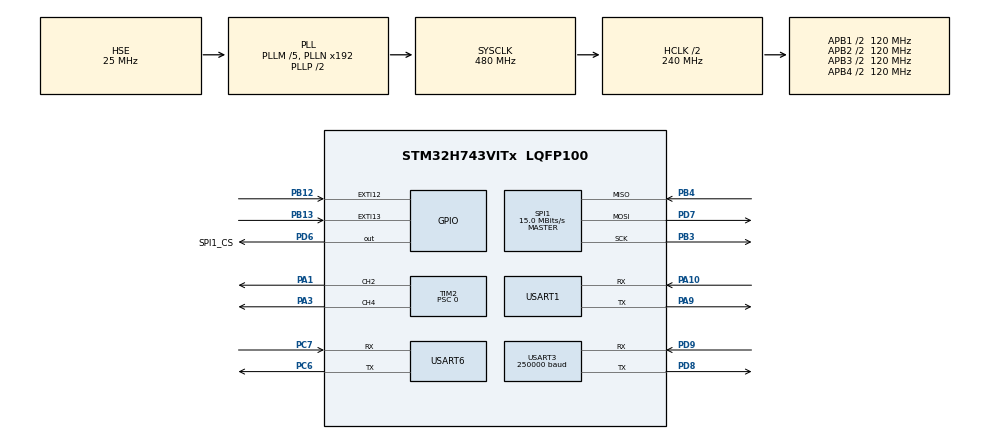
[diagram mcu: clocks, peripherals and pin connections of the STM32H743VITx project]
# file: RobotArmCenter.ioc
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Bdma.MEMTOMEM.0.Direction=DMA_MEMORY_TO_MEMORY
Bdma.MEMTOMEM.0.EventEnable=DISABLE
Bdma.MEMTOMEM.0.Instance=BDMA_Channel0
Bdma.MEMTOMEM.0.MemDataAlignment=DMA_MDATAALIGN_BYTE
Bdma.MEMTOMEM.0.MemInc=DMA_MINC_ENABLE
Bdma.MEMTOMEM.0.Mode=DMA_NORMAL
Bdma.MEMTOMEM.0.PeriphDataAlignment=DMA_PDATAALIGN_BYTE
Bdma.MEMTOMEM.0.PeriphInc=DMA_PINC_ENABLE
Bdma.MEMTOMEM.0.Polarity=HAL_DMAMUX_REQ_GEN_RISING
Bdma.MEMTOMEM.0.Priority=DMA_PRIORITY_LOW
Bdma.MEMTOMEM.0.RequestNumber=1
Bdma.MEMTOMEM.0.SignalID=NONE
Bdma.MEMTOMEM.0.SyncEnable=DISABLE
Bdma.MEMTOMEM.0.SyncPolarity=HAL_DMAMUX_SYNC_NO_EVENT
Bdma.MEMTOMEM.0.SyncRequestNumber=1
Bdma.MEMTOMEM.0.SyncSignalID=NONE
Bdma.Request0=MEMTOMEM
Bdma.RequestsNb=1
CORTEX_M7.default_mode_Activation=1
Dma.Request0=USART1_RX
Dma.Request1=USART1_TX
Dma.Request2=USART3_RX
Dma.Request3=USART3_TX
Dma.Request4=SPI1_RX
Dma.Request5=SPI1_TX
Dma.Request6=USART6_RX
Dma.Request7=USART6_TX
Dma.SPI1_RX.4.Direction=DMA_PERIPH_TO_MEMORY
Dma.SPI1_RX.4.EventEnable=DISABLE
Dma.SPI1_RX.4.FIFOMode=DMA_FIFOMODE_DISABLE
Dma.SPI1_RX.4.Instance=DMA1_Stream4
Dma.SPI1_RX.4.MemDataAlignment=DMA_MDATAALIGN_BYTE
Dma.SPI1_RX.4.MemInc=DMA_MINC_ENABLE
Dma.SPI1_RX.4.Mode=DMA_NORMAL
Dma.SPI1_RX.4.PeriphDataAlignment=DMA_PDATAALIGN_BYTE
Dma.SPI1_RX.4.PeriphInc=DMA_PINC_DISABLE
Dma.SPI1_RX.4.Polarity=HAL_DMAMUX_REQ_GEN_RISING
Dma.SPI1_RX.4.Priority=DMA_PRIORITY_LOW
Dma.SPI1_RX.4.RequestNumber=1
Dma.SPI1_RX.4.SignalID=NONE
Dma.SPI1_RX.4.SyncEnable=DISABLE
Dma.SPI1_RX.4.SyncPolarity=HAL_DMAMUX_SYNC_NO_EVENT
Dma.SPI1_RX.4.SyncRequestNumber=1
Dma.SPI1_RX.4.SyncSignalID=NONE
Dma.SPI1_TX.5.Direction=DMA_MEMORY_TO_PERIPH
Dma.SPI1_TX.5.EventEnable=DISABLE
Dma.SPI1_TX.5.FIFOMode=DMA_FIFOMODE_DISABLE
Dma.SPI1_TX.5.Instance=DMA1_Stream5
Dma.SPI1_TX.5.MemDataAlignment=DMA_MDATAALIGN_BYTE
Dma.SPI1_TX.5.MemInc=DMA_MINC_ENABLE
Dma.SPI1_TX.5.Mode=DMA_NORMAL
Dma.SPI1_TX.5.PeriphDataAlignment=DMA_PDATAALIGN_BYTE
Dma.SPI1_TX.5.PeriphInc=DMA_PINC_DISABLE
Dma.SPI1_TX.5.Polarity=HAL_DMAMUX_REQ_GEN_RISING
Dma.SPI1_TX.5.Priority=DMA_PRIORITY_LOW
Dma.SPI1_TX.5.RequestNumber=1
Dma.SPI1_TX.5.SignalID=NONE
Dma.SPI1_TX.5.SyncEnable=DISABLE
Dma.SPI1_TX.5.SyncPolarity=HAL_DMAMUX_SYNC_NO_EVENT
Dma.SPI1_TX.5.SyncRequestNumber=1
Dma.SPI1_TX.5.SyncSignalID=NONE
Dma.USART1_RX.0.Direction=DMA_PERIPH_TO_MEMORY
Dma.USART1_RX.0.EventEnable=DISABLE
Dma.USART1_RX.0.FIFOMode=DMA_FIFOMODE_DISABLE
Dma.USART1_RX.0.Instance=DMA1_Stream0
Dma.USART1_RX.0.MemDataAlignment=DMA_MDATAALIGN_BYTE
Dma.USART1_RX.0.MemInc=DMA_MINC_ENABLE
Dma.USART1_RX.0.Mode=DMA_NORMAL
Dma.USART1_RX.0.PeriphDataAlignment=DMA_PDATAALIGN_BYTE
Dma.USART1_RX.0.PeriphInc=DMA_PINC_DISABLE
Dma.USART1_RX.0.Polarity=HAL_DMAMUX_REQ_GEN_RISING
Dma.USART1_RX.0.Priority=DMA_PRIORITY_LOW
Dma.USART1_RX.0.RequestNumber=1
Dma.USART1_RX.0.SignalID=NONE
Dma.USART1_RX.0.SyncEnable=DISABLE
Dma.USART1_RX.0.SyncPolarity=HAL_DMAMUX_SYNC_NO_EVENT
Dma.USART1_RX.0.SyncRequestNumber=1
Dma.USART1_RX.0.SyncSignalID=NONE
Dma.USART1_TX.1.Direction=DMA_MEMORY_TO_PERIPH
Dma.USART1_TX.1.EventEnable=DISABLE
Dma.USART1_TX.1.FIFOMode=DMA_FIFOMODE_DISABLE
Dma.USART1_TX.1.Instance=DMA1_Stream1
Dma.USART1_TX.1.MemDataAlignment=DMA_MDATAALIGN_BYTE
Dma.USART1_TX.1.MemInc=DMA_MINC_ENABLE
Dma.USART1_TX.1.Mode=DMA_NORMAL
Dma.USART1_TX.1.PeriphDataAlignment=DMA_PDATAALIGN_BYTE
Dma.USART1_TX.1.PeriphInc=DMA_PINC_DISABLE
Dma.USART1_TX.1.Polarity=HAL_DMAMUX_REQ_GEN_RISING
Dma.USART1_TX.1.Priority=DMA_PRIORITY_LOW
Dma.USART1_TX.1.RequestNumber=1
Dma.USART1_TX.1.SignalID=NONE
Dma.USART1_TX.1.SyncEnable=DISABLE
Dma.USART1_TX.1.SyncPolarity=HAL_DMAMUX_SYNC_NO_EVENT
Dma.USART1_TX.1.SyncRequestNumber=1
Dma.USART1_TX.1.SyncSignalID=NONE
Dma.USART3_RX.2.Direction=DMA_PERIPH_TO_MEMORY
Dma.USART3_RX.2.EventEnable=DISABLE
Dma.USART3_RX.2.FIFOMode=DMA_FIFOMODE_DISABLE
Dma.USART3_RX.2.Instance=DMA1_Stream2
Dma.USART3_RX.2.MemDataAlignment=DMA_MDATAALIGN_BYTE
Dma.USART3_RX.2.MemInc=DMA_MINC_ENABLE
Dma.USART3_RX.2.Mode=DMA_NORMAL
Dma.USART3_RX.2.PeriphDataAlignment=DMA_PDATAALIGN_BYTE
Dma.USART3_RX.2.PeriphInc=DMA_PINC_DISABLE
Dma.USART3_RX.2.Polarity=HAL_DMAMUX_REQ_GEN_RISING
Dma.USART3_RX.2.Priority=DMA_PRIORITY_LOW
Dma.USART3_RX.2.RequestNumber=1
Dma.USART3_RX.2.SignalID=NONE
Dma.USART3_RX.2.SyncEnable=DISABLE
Dma.USART3_RX.2.SyncPolarity=HAL_DMAMUX_SYNC_NO_EVENT
Dma.USART3_RX.2.SyncRequestNumber=1
Dma.USART3_RX.2.SyncSignalID=NONE
Dma.USART3_TX.3.Direction=DMA_MEMORY_TO_PERIPH
Dma.USART3_TX.3.EventEnable=DISABLE
Dma.USART3_TX.3.FIFOMode=DMA_FIFOMODE_DISABLE
Dma.USART3_TX.3.Instance=DMA1_Stream3
Dma.USART3_TX.3.MemDataAlignment=DMA_MDATAALIGN_BYTE
Dma.USART3_TX.3.MemInc=DMA_MINC_ENABLE
Dma.USART3_TX.3.Mode=DMA_NORMAL
Dma.USART3_TX.3.PeriphDataAlignment=DMA_PDATAALIGN_BYTE
Dma.USART3_TX.3.PeriphInc=DMA_PINC_DISABLE
Dma.USART3_TX.3.Polarity=HAL_DMAMUX_REQ_GEN_RISING
Dma.USART3_TX.3.Priority=DMA_PRIORITY_LOW
Dma.USART3_TX.3.RequestNumber=1
Dma.USART3_TX.3.SignalID=NONE
Dma.USART3_TX.3.SyncEnable=DISABLE
Dma.USART3_TX.3.SyncPolarity=HAL_DMAMUX_SYNC_NO_EVENT
Dma.USART3_TX.3.SyncRequestNumber=1
Dma.USART3_TX.3.SyncSignalID=NONE
Dma.USART6_RX.6.Direction=DMA_PERIPH_TO_MEMORY
Dma.USART6_RX.6.EventEnable=DISABLE
Dma.USART6_RX.6.FIFOMode=DMA_FIFOMODE_DISABLE
Dma.USART6_RX.6.Instance=DMA1_Stream6
Dma.USART6_RX.6.MemDataAlignment=DMA_MDATAALIGN_BYTE
Dma.USART6_RX.6.MemInc=DMA_MINC_ENABLE
Dma.USART6_RX.6.Mode=DMA_NORMAL
Dma.USART6_RX.6.PeriphDataAlignment=DMA_PDATAALIGN_BYTE
Dma.USART6_RX.6.PeriphInc=DMA_PINC_DISABLE
Dma.USART6_RX.6.Polarity=HAL_DMAMUX_REQ_GEN_RISING
Dma.USART6_RX.6.Priority=DMA_PRIORITY_LOW
Dma.USART6_RX.6.RequestNumber=1
Dma.USART6_RX.6.SignalID=NONE
Dma.USART6_RX.6.SyncEnable=DISABLE
Dma.USART6_RX.6.SyncPolarity=HAL_DMAMUX_SYNC_NO_EVENT
Dma.USART6_RX.6.SyncRequestNumber=1
Dma.USART6_RX.6.SyncSignalID=NONE
Dma.USART6_TX.7.Direction=DMA_MEMORY_TO_PERIPH
Dma.USART6_TX.7.EventEnable=DISABLE
Dma.USART6_TX.7.FIFOMode=DMA_FIFOMODE_DISABLE
Dma.USART6_TX.7.Instance=DMA1_Stream7
Dma.USART6_TX.7.MemDataAlignment=DMA_MDATAALIGN_BYTE
Dma.USART6_TX.7.MemInc=DMA_MINC_ENABLE
Dma.USART6_TX.7.Mode=DMA_NORMAL
Dma.USART6_TX.7.PeriphDataAlignment=DMA_PDATAALIGN_BYTE
Dma.USART6_TX.7.PeriphInc=DMA_PINC_DISABLE
Dma.USART6_TX.7.Polarity=HAL_DMAMUX_REQ_GEN_RISING
Dma.USART6_TX.7.Priority=DMA_PRIORITY_LOW
Dma.USART6_TX.7.RequestNumber=1
Dma.USART6_TX.7.SignalID=NONE
Dma.USART6_TX.7.SyncEnable=DISABLE
Dma.USART6_TX.7.SyncPolarity=HAL_DMAMUX_SYNC_NO_EVENT
Dma.USART6_TX.7.SyncRequestNumber=1
Dma.USART6_TX.7.SyncSignalID=NONE
Mcu.Family=STM32H7
Mcu.Name=STM32H743VITx
Mcu.Package=LQFP100
NVIC.DMA1_Stream0_IRQn=true\:0\:0\:false\:false\:true\:false\:true\:true
NVIC.DMA1_Stream1_IRQn=true\:0\:0\:false\:false\:true\:false\:true\:true
NVIC.DMA1_Stream2_IRQn=true\:0\:0\:false\:false\:true\:false\:true\:true
NVIC.DMA1_Stream3_IRQn=true\:0\:0\:false\:false\:true\:false\:true\:true
NVIC.DMA1_Stream4_IRQn=true\:0\:0\:false\:false\:true\:false\:true\:true
NVIC.DMA1_Stream5_IRQn=true\:0\:0\:false\:false\:true\:false\:true\:true
NVIC.DMA1_Stream6_IRQn=true\:0\:0\:false\:false\:true\:false\:true\:true
NVIC.DMA1_Stream7_IRQn=true\:0\:0\:false\:false\:true\:false\:true\:true
NVIC.EXTI15_10_IRQn=true\:0\:0\:false\:false\:true\:true\:true\:true
NVIC.PriorityGroup=NVIC_PRIORITYGROUP_4
NVIC.SPI1_IRQn=true\:0\:0\:false\:false\:true\:false\:true\:true
NVIC.TIM2_IRQn=true\:0\:0\:false\:false\:true\:true\:true\:true
NVIC.USART1_IRQn=true\:0\:0\:false\:false\:true\:true\:true\:true
NimaLTD.I-CUBE-SPIF.2.3.2.DriverJjSPIF=true
NimaLTD.I-CUBE-SPIF.2.3.2.SPIF_PLATFORM=SPIF_PLATFORM_HAL_DMA
PA1.Signal=S_TIM2_CH2
PA10.Mode=Asynchronous
PA10.Signal=USART1_RX
PA13\ (JTMS/SWDIO).Mode=Serial_Wire
PA13\ (JTMS/SWDIO).Signal=DEBUG_JTMS-SWDIO
PA14\ (JTCK/SWCLK).Mode=Serial_Wire
PA14\ (JTCK/SWCLK).Signal=DEBUG_JTCK-SWCLK
PA3.Signal=S_TIM2_CH4
PA9.Mode=Asynchronous
PA9.Signal=USART1_TX
PB12.GPIO_ModeDefaultEXTI=GPIO_MODE_IT_RISING_FALLING
PB12.GPIO_PuPd=GPIO_PULLUP
PB12.Signal=GPXTI12
PB13.GPIO_ModeDefaultEXTI=GPIO_MODE_IT_RISING_FALLING
PB13.GPIO_PuPd=GPIO_PULLUP
PB13.Signal=GPXTI13
PB3\ (JTDO/TRACESWO).Mode=Full_Duplex_Master
PB3\ (JTDO/TRACESWO).Signal=SPI1_SCK
PB4\ (NJTRST).Mode=Full_Duplex_Master
PB4\ (NJTRST).Signal=SPI1_MISO
PC14-OSC32_IN\ (OSC32_IN).Mode=LSE-External-Oscillator
PC14-OSC32_IN\ (OSC32_IN).Signal=RCC_OSC32_IN
PC15-OSC32_OUT\ (OSC32_OUT).Mode=LSE-External-Oscillator
PC15-OSC32_OUT\ (OSC32_OUT).Signal=RCC_OSC32_OUT
PC6.Mode=Asynchronous
PC6.Signal=USART6_TX
PC7.Mode=Asynchronous
PC7.Signal=USART6_RX
PD6.GPIO_Label=SPI1_CS
PD6.Signal=GPIO_Output
PD7.Mode=Full_Duplex_Master
PD7.Signal=SPI1_MOSI
PD8.Mode=Asynchronous
PD8.Signal=USART3_TX
PD9.Mode=Asynchronous
PD9.Signal=USART3_RX
PH0-OSC_IN\ (PH0).Mode=HSE-External-Oscillator
PH0-OSC_IN\ (PH0).Signal=RCC_OSC_IN
PH1-OSC_OUT\ (PH1).Mode=HSE-External-Oscillator
PH1-OSC_OUT\ (PH1).Signal=RCC_OSC_OUT
ProjectManager.HeapSize=0x200
ProjectManager.StackSize=0x400
ProjectManager.TargetToolchain=STM32CubeIDE
RCC.ADCFreq_Value=276480102.5390625
RCC.APB1Freq_Value=120000000
RCC.APB2Freq_Value=120000000
RCC.APB3Freq_Value=120000000
RCC.APB4Freq_Value=120000000
RCC.CortexFreq_Value=480000000
RCC.D1PPRE=RCC_APB3_DIV2
RCC.D2PPRE1=RCC_APB1_DIV2
RCC.D2PPRE2=RCC_APB2_DIV2
RCC.D3PPRE=RCC_APB4_DIV2
RCC.DIVM1=5
RCC.DIVM2=5
RCC.DIVM3=5
RCC.DIVN1=192
RCC.DIVN2=110
RCC.DIVN3=96
RCC.DIVP3=4
RCC.DIVQ2=50
RCC.HCLKFreq_Value=240000000
RCC.HPRE=RCC_HCLK_DIV2
RCC.PLL2FRACN=4850
RCC.PLLSourceVirtual=RCC_PLLSOURCE_HSE
RCC.SPI123CLockSelection=RCC_SPI123CLKSOURCE_PLL3
RCC.SYSCLKFreq_VALUE=480000000
RCC.SYSCLKSource=RCC_SYSCLKSOURCE_PLLCLK
RCC.USART16CLockSelection=RCC_USART16CLKSOURCE_PLL2
RCC.USART234578CLockSelection=RCC_USART234578CLKSOURCE_PLL2
RCC.USBFreq_Value=480000000
SH.S_TIM2_CH2.0=TIM2_CH2,PWM Generation2 CH2
SH.S_TIM2_CH4.0=TIM2_CH4,PWM Generation4 CH4
SPI1.BaudRatePrescaler=SPI_BAUDRATEPRESCALER_8
SPI1.CalculateBaudRate=15.0 MBits/s
SPI1.DataSize=SPI_DATASIZE_8BIT
SPI1.Direction=SPI_DIRECTION_2LINES
SPI1.Mode=SPI_MODE_MASTER
SPI1.VirtualType=VM_MASTER
TIM17.Period=49999
TIM17.Prescaler=479
TIM2.Channel-PWM\ Generation2\ CH2=TIM_CHANNEL_2
TIM2.Channel-PWM\ Generation4\ CH4=TIM_CHANNEL_4
TIM2.Period=11999
TIM2.Prescaler=0
TIM3.Period=49999
TIM3.Prescaler=47
USART1.VirtualMode-Asynchronous=VM_ASYNC
USART3.BaudRate=250000
USART3.VirtualMode-Asynchronous=VM_ASYNC
USART6.VirtualMode=VM_ASYNC
VP_MEMORYMAP_VS_MEMORYMAP.Mode=CurAppReg
VP_NimaLTD.I-CUBE-SPIF_VS_DriverJjSPIF_1.0.0_2.3.2.Mode=DriverJjSPIF
VP_TIM17_VS_ClockSourceINT.Mode=Enable_Timer
VP_TIM2_VS_ClockSourceINT.Mode=Internal
VP_TIM3_VS_ClockSourceINT.Mode=Internal
board=custom

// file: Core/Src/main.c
/* USER CODE BEGIN Header */
/**
  ******************************************************************************
  * @file           : main.c
  * @brief          : Main program body
  ******************************************************************************
  * @attention
  *
  * Copyright (c) 2025 STMicroelectronics.
  * All rights reserved.
  *
  * This software is licensed under terms that can be found in the LICENSE file
  * in the root directory of this software component.
  * If no LICENSE file comes with this software, it is provided AS-IS.
  *
  ******************************************************************************
  */
/* USER CODE END Header */
#include "main.h"

/* USER CODE BEGIN PD */
#define _MAX_CHANGE_THETA_STEP PI/200
#define _MAX_PULSE_ 2500
#define _MIN_PULSE_ 500
/* USER CODE END PD */

SPI_HandleTypeDef hspi1;
DMA_HandleTypeDef hdma_spi1_rx;
DMA_HandleTypeDef hdma_spi1_tx;

TIM_HandleTypeDef htim2;
TIM_HandleTypeDef htim3;
TIM_HandleTypeDef htim17;

UART_HandleTypeDef huart1;
UART_HandleTypeDef huart3;
UART_HandleTypeDef huart6;
DMA_HandleTypeDef hdma_usart1_rx;
DMA_HandleTypeDef hdma_usart1_tx;
DMA_HandleTypeDef hdma_usart3_rx;
DMA_HandleTypeDef hdma_usart3_tx;
DMA_HandleTypeDef hdma_usart6_rx;
DMA_HandleTypeDef hdma_usart6_tx;

DMA_HandleTypeDef hdma_memtomem_bdma_channel0;
/* USER CODE BEGIN PV */
Robot RobotArm;
uint8_t HasObject;
uint8_t Rx1_Buffer[14];
uint8_t Tx1_Buffer[14];
uint8_t Rx3_Buffer[14];
uint8_t Tx3_Buffer[14];
uint8_t Rx6_Buffer[30];
uint8_t Tx6_Buffer[30];
SPIF_HandleTypeDef spif;
uint8_t cmd;
uint8_t ESP32_Communication;
uint8_t ESP32_IP[4];
uint16_t numPosSaved;
uint16_t ObjectCount;
uint8_t Rx1_Flag = 0;
uint8_t Rx3_Flag = 0;
uint8_t Rx6_Flag = 0;
uint8_t Tx1_Flag = 0;
uint8_t Tx3_Flag = 0;
uint8_t Tx6_Flag = 0;
/* USER CODE END PV */

void SystemClock_Config(void);
void PeriphCommonClock_Config(void);
static void MPU_Config(void);
static void MX_GPIO_Init(void);
static void MX_DMA_Init(void);
static void MX_BDMA_Init(void);
static void MX_TIM2_Init(void);
static void MX_SPI1_Init(void);
static void MX_USART1_UART_Init(void);
static void MX_USART3_UART_Init(void);
static void MX_TIM17_Init(void);
static void MX_TIM3_Init(void);
static void MX_USART6_UART_Init(void);
/* USER CODE BEGIN PFP */
void LoadAngle();
void SaveAngle();
void ClearAngle();
void ClearPath();
void RunMotor();
void StopMotor();
/* USER CODE END PFP */

/* USER CODE BEGIN 0 */

void HAL_TIM_PeriodElapsedCallback(TIM_HandleTypeDef *htim) {
  if (htim == &htim3) {
    RobotArm.ProcessFlag = 0;
    Tx3_Buffer[0] = 0xAA;
    for(int i = 0;i<6;i++){
      Tx3_Buffer[i+1] = (uint8_t)(RobotArm.pulse[i] >> 8);
      Tx3_Buffer[i+2] = (uint8_t)(RobotArm.pulse[i] & 0xFF);
    }
    Tx3_Buffer[13] = 0x55;
     Tx3_Flag= HAL_UART_Transmit_DMA(&huart3, Tx3_Buffer,14);
  } else if (htim == &htim17) {
    Tx6_Buffer[0] = cmd;
    for(int i = 0;i<6;i++){
      int16_t value;
      value= (int16_t)(RobotArm.fTheta[i]*10);
      Tx6_Buffer[i+1] = (uint8_t)(value >> 8);
      Tx6_Buffer[i+2] = (uint8_t)(value & 0xFF);
      value= (int16_t)(RobotArm.fPos[i]*10);
      Tx6_Buffer[i+7] = (uint8_t)(value >> 8);
      Tx6_Buffer[i+8] = (uint8_t)(value & 0xFF);
    }
    Tx6_Buffer[25] = RobotArm.Mode;
    Tx6_Flag= HAL_UART_Transmit_DMA(&huart6, Tx6_Buffer,26);
  }
}
void HAL_UART_RxCpltCallback(UART_HandleTypeDef *huart) {
  if (huart == &huart1) {
    switch (Rx1_Buffer[0]) {
      case _SEND_IP_:
        ESP32_IP[0] = Rx1_Buffer[1];
        ESP32_IP[1] = Rx1_Buffer[2];
        ESP32_IP[2] = Rx1_Buffer[3];
        ESP32_IP[3] = Rx1_Buffer[4];
        Tx1_Buffer[0] = _STM32_READY_;
        Tx1_Flag=HAL_UART_Transmit_DMA(&huart1, Tx1_Buffer, 1);
        break;

      case _START_:
        cmd = Rx1_Buffer[1];
        switch (cmd) {
          case _RUNROBOT_:
            // TODO: Implement run robot logic
            RobotArm.Mode = _RUNROBOT_;
            break;

          case _STOPROBOT_:
            RobotArm.Mode = 0; // Example: Stop robot
            break;

          case _RESETROBOT_:
            Robot_Reset(&RobotArm);
            break;

          case _SAVEPOS_:
            SaveAngle();
            break;

          case _CLEARPOS_:
            ClearAngle();
            break;

          case _ADDPATH_:
            // TODO: Implement add path logic
            break;

          case _CLEARPATH_:
            ClearPath();
            break;

          case _SET_ANGLE_:
            // TODO: Implement set angle logic
            RobotArm.Mode = _SET_ANGLE_;
            for (int i = 0; i < 6; i++) {
              RobotArm.fThetaTarget[i] = (float)((Rx1_Buffer[i + 2] << 8) | Rx1_Buffer[i + 3]) / 10.0f;
            }
            break;

          case _SET_POSITION_:
            // TODO: Implement set position logic
            RobotArm.Mode = _SET_POSITION_;
            for (int i = 0; i < 6; i++) {
              RobotArm.fPosTarget[i] = (float)((Rx1_Buffer[i + 2] << 8) | Rx1_Buffer[i + 3]) / 10.0f;
            }
            break;

          default:
            // Handle unknown command
            break;
        }
        break;

      default:
        // Handle unknown event
        break;
    }
    HAL_UART_Receive_DMA(&huart1, Rx1_Buffer, sizeof(Rx1_Buffer));
  }
}
void HAL_GPIO_EXTI_Callback(uint16_t GPIO_Pin) {
  if (GPIO_Pin == GPIO_PIN_12 || GPIO_Pin == GPIO_PIN_13) {
    GPIO_PinState pin12State = HAL_GPIO_ReadPin(GPIOB, GPIO_PIN_12);
    GPIO_PinState pin13State = HAL_GPIO_ReadPin(GPIOB, GPIO_PIN_13);

    if (pin12State == GPIO_PIN_RESET && pin13State == GPIO_PIN_RESET) {
      HasObject = 1;
      ObjectCount++;
      StopMotor();
    } else {
      HasObject = 0;
      RunMotor();
    }
  }
}
/* USER CODE END 0 */

int main(void)
{

  /* MPU Configuration--------------------------------------------------------*/
  MPU_Config();

  /* MCU Configuration--------------------------------------------------------*/

  /* Reset of all peripherals, Initializes the Flash interface and the Systick. */
  HAL_Init();

  /* Configure the system clock */
  SystemClock_Config();

  /* Configure the peripherals common clocks */
  PeriphCommonClock_Config();

  /* Initialize all configured peripherals */
  MX_GPIO_Init();
  MX_DMA_Init();
  MX_BDMA_Init();
  MX_TIM2_Init();
  MX_SPI1_Init();
  MX_USART1_UART_Init();
  MX_USART3_UART_Init();
  MX_TIM17_Init();
  MX_TIM3_Init();
  MX_USART6_UART_Init();
  /* USER CODE BEGIN 2 */
  HAL_TIM_PWM_Start(&htim2, TIM_CHANNEL_2);
  HAL_TIM_PWM_Start(&htim2, TIM_CHANNEL_4);
  HAL_TIM_Base_Start_IT(&htim3);

  HAL_UART_Receive_DMA(&huart1, Rx1_Buffer, sizeof(Rx1_Buffer));
  HAL_UART_Receive_DMA(&huart3, Rx3_Buffer, sizeof(Rx3_Buffer));
  HAL_UART_Receive_DMA(&huart6, Rx6_Buffer, sizeof(Rx6_Buffer));
  SPIF_Init(&spif, &hspi1, SPI1_CS_GPIO_Port, SPI1_CS_Pin);
  Robot_Init(&RobotArm, _MAX_CHANGE_THETA_STEP, 0, _MIN_PULSE_, _MAX_PULSE_);
  HAL_Delay(4000);
  Robot_Reset(&RobotArm);
  HAL_TIM_Base_Start_IT(&htim17);
  /* USER CODE END 2 */

  /* Infinite loop */
  while (1)
  {
    switch (RobotArm.Mode) {
      case _RUNROBOT_:
        while(!HasObject&&cmd==_RUNROBOT_){};
        if (ObjectCount <= numPosSaved) {
            Robot_RunPath(&RobotArm);
        }
        break;

      case _SET_ANGLE_:
        Robot_Run(&RobotArm);
        break;

      case _SET_POSITION_:
        Robot_InverseKinematics(&RobotArm);
        Robot_Run(&RobotArm);
        break;

      default:
        // Handle other modes or idle state
        break;
    }
  }
}

void SystemClock_Config(void)
{
  RCC_OscInitTypeDef RCC_OscInitStruct = {0};
  RCC_ClkInitTypeDef RCC_ClkInitStruct = {0};

  /** Supply configuration update enable
  */
  HAL_PWREx_ConfigSupply(PWR_LDO_SUPPLY);

  /** Configure the main internal regulator output voltage
  */
  __HAL_PWR_VOLTAGESCALING_CONFIG(PWR_REGULATOR_VOLTAGE_SCALE0);

  while(!__HAL_PWR_GET_FLAG(PWR_FLAG_VOSRDY)) {}

  /** Initializes the RCC Oscillators according to the specified parameters
  * in the RCC_OscInitTypeDef structure.
  */
  RCC_OscInitStruct.OscillatorType = RCC_OSCILLATORTYPE_HSE;
  RCC_OscInitStruct.HSEState = RCC_HSE_ON;
  RCC_OscInitStruct.PLL.PLLState = RCC_PLL_ON;
  RCC_OscInitStruct.PLL.PLLSource = RCC_PLLSOURCE_HSE;
  RCC_OscInitStruct.PLL.PLLM = 5;
  RCC_OscInitStruct.PLL.PLLN = 192;
  RCC_OscInitStruct.PLL.PLLP = 2;
  RCC_OscInitStruct.PLL.PLLQ = 2;
  RCC_OscInitStruct.PLL.PLLR = 2;
  RCC_OscInitStruct.PLL.PLLRGE = RCC_PLL1VCIRANGE_2;
  RCC_OscInitStruct.PLL.PLLVCOSEL = RCC_PLL1VCOWIDE;
  RCC_OscInitStruct.PLL.PLLFRACN = 0;
  if (HAL_RCC_OscConfig(&RCC_OscInitStruct) != HAL_OK)
  {
    Error_Handler();
  }

  /** Initializes the CPU, AHB and APB buses clocks
  */
  RCC_ClkInitStruct.ClockType = RCC_CLOCKTYPE_HCLK|RCC_CLOCKTYPE_SYSCLK
                              |RCC_CLOCKTYPE_PCLK1|RCC_CLOCKTYPE_PCLK2
                              |RCC_CLOCKTYPE_D3PCLK1|RCC_CLOCKTYPE_D1PCLK1;
  RCC_ClkInitStruct.SYSCLKSource = RCC_SYSCLKSOURCE_PLLCLK;
  RCC_ClkInitStruct.SYSCLKDivider = RCC_SYSCLK_DIV1;
  RCC_ClkInitStruct.AHBCLKDivider = RCC_HCLK_DIV2;
  RCC_ClkInitStruct.APB3CLKDivider = RCC_APB3_DIV2;
  RCC_ClkInitStruct.APB1CLKDivider = RCC_APB1_DIV2;
  RCC_ClkInitStruct.APB2CLKDivider = RCC_APB2_DIV2;
  RCC_ClkInitStruct.APB4CLKDivider = RCC_APB4_DIV2;

  if (HAL_RCC_ClockConfig(&RCC_ClkInitStruct, FLASH_LATENCY_4) != HAL_OK)
  {
    Error_Handler();
  }
}

void PeriphCommonClock_Config(void)
{
  RCC_PeriphCLKInitTypeDef PeriphClkInitStruct = {0};

  /** Initializes the peripherals clock
  */
  PeriphClkInitStruct.PeriphClockSelection = RCC_PERIPHCLK_USART1|RCC_PERIPHCLK_USART6
                              |RCC_PERIPHCLK_USART3;
  PeriphClkInitStruct.PLL2.PLL2M = 5;
  PeriphClkInitStruct.PLL2.PLL2N = 110;
  PeriphClkInitStruct.PLL2.PLL2P = 2;
  PeriphClkInitStruct.PLL2.PLL2Q = 50;
  PeriphClkInitStruct.PLL2.PLL2R = 2;
  PeriphClkInitStruct.PLL2.PLL2RGE = RCC_PLL2VCIRANGE_2;
  PeriphClkInitStruct.PLL2.PLL2VCOSEL = RCC_PLL2VCOWIDE;
  PeriphClkInitStruct.PLL2.PLL2FRACN = 4850;
  PeriphClkInitStruct.Usart234578ClockSelection = RCC_USART234578CLKSOURCE_PLL2;
  PeriphClkInitStruct.Usart16ClockSelection = RCC_USART16CLKSOURCE_PLL2;
  if (HAL_RCCEx_PeriphCLKConfig(&PeriphClkInitStruct) != HAL_OK)
  {
    Error_Handler();
  }
}

static void MX_SPI1_Init(void)
{

  /* SPI1 parameter configuration*/
  hspi1.Instance = SPI1;
  hspi1.Init.Mode = SPI_MODE_MASTER;
  hspi1.Init.Direction = SPI_DIRECTION_2LINES;
  hspi1.Init.DataSize = SPI_DATASIZE_8BIT;
  hspi1.Init.CLKPolarity = SPI_POLARITY_LOW;
  hspi1.Init.CLKPhase = SPI_PHASE_1EDGE;
  hspi1.Init.NSS = SPI_NSS_SOFT;
  hspi1.Init.BaudRatePrescaler = SPI_BAUDRATEPRESCALER_8;
  hspi1.Init.FirstBit = SPI_FIRSTBIT_MSB;
  hspi1.Init.TIMode = SPI_TIMODE_DISABLE;
  hspi1.Init.CRCCalculation = SPI_CRCCALCULATION_DISABLE;
  hspi1.Init.CRCPolynomial = 0x0;
  hspi1.Init.NSSPMode = SPI_NSS_PULSE_ENABLE;
  hspi1.Init.NSSPolarity = SPI_NSS_POLARITY_LOW;
  hspi1.Init.FifoThreshold = SPI_FIFO_THRESHOLD_01DATA;
  hspi1.Init.TxCRCInitializationPattern = SPI_CRC_INITIALIZATION_ALL_ZERO_PATTERN;
  hspi1.Init.RxCRCInitializationPattern = SPI_CRC_INITIALIZATION_ALL_ZERO_PATTERN;
  hspi1.Init.MasterSSIdleness = SPI_MASTER_SS_IDLENESS_00CYCLE;
  hspi1.Init.MasterInterDataIdleness = SPI_MASTER_INTERDATA_IDLENESS_00CYCLE;
  hspi1.Init.MasterReceiverAutoSusp = SPI_MASTER_RX_AUTOSUSP_DISABLE;
  hspi1.Init.MasterKeepIOState = SPI_MASTER_KEEP_IO_STATE_DISABLE;
  hspi1.Init.IOSwap = SPI_IO_SWAP_DISABLE;
  if (HAL_SPI_Init(&hspi1) != HAL_OK)
  {
    Error_Handler();
  }

}

static void MX_TIM2_Init(void)
{

  TIM_ClockConfigTypeDef sClockSourceConfig = {0};
  TIM_MasterConfigTypeDef sMasterConfig = {0};
  TIM_OC_InitTypeDef sConfigOC = {0};

  htim2.Instance = TIM2;
  htim2.Init.Prescaler = 0;
  htim2.Init.CounterMode = TIM_COUNTERMODE_UP;
  htim2.Init.Period = 11999;
  htim2.Init.ClockDivision = TIM_CLOCKDIVISION_DIV1;
  htim2.Init.AutoReloadPreload = TIM_AUTORELOAD_PRELOAD_DISABLE;
  if (HAL_TIM_Base_Init(&htim2) != HAL_OK)
  {
    Error_Handler();
  }
  sClockSourceConfig.ClockSource = TIM_CLOCKSOURCE_INTERNAL;
  if (HAL_TIM_ConfigClockSource(&htim2, &sClockSourceConfig) != HAL_OK)
  {
    Error_Handler();
  }
  if (HAL_TIM_PWM_Init(&htim2) != HAL_OK)
  {
    Error_Handler();
  }
  sMasterConfig.MasterOutputTrigger = TIM_TRGO_RESET;
  sMasterConfig.MasterSlaveMode = TIM_MASTERSLAVEMODE_DISABLE;
  if (HAL_TIMEx_MasterConfigSynchronization(&htim2, &sMasterConfig) != HAL_OK)
  {
    Error_Handler();
  }
  sConfigOC.OCMode = TIM_OCMODE_PWM1;
  sConfigOC.Pulse = 0;
  sConfigOC.OCPolarity = TIM_OCPOLARITY_HIGH;
  sConfigOC.OCFastMode = TIM_OCFAST_DISABLE;
  if (HAL_TIM_PWM_ConfigChannel(&htim2, &sConfigOC, TIM_CHANNEL_2) != HAL_OK)
  {
    Error_Handler();
  }
  if (HAL_TIM_PWM_ConfigChannel(&htim2, &sConfigOC, TIM_CHANNEL_4) != HAL_OK)
  {
    Error_Handler();
  }
  HAL_TIM_MspPostInit(&htim2);

}

static void MX_TIM3_Init(void)
{

  TIM_ClockConfigTypeDef sClockSourceConfig = {0};
  TIM_MasterConfigTypeDef sMasterConfig = {0};

  htim3.Instance = TIM3;
  htim3.Init.Prescaler = 47;
  htim3.Init.CounterMode = TIM_COUNTERMODE_UP;
  htim3.Init.Period = 49999;
  htim3.Init.ClockDivision = TIM_CLOCKDIVISION_DIV1;
  htim3.Init.AutoReloadPreload = TIM_AUTORELOAD_PRELOAD_DISABLE;
  if (HAL_TIM_Base_Init(&htim3) != HAL_OK)
  {
    Error_Handler();
  }
  sClockSourceConfig.ClockSource = TIM_CLOCKSOURCE_INTERNAL;
  if (HAL_TIM_ConfigClockSource(&htim3, &sClockSourceConfig) != HAL_OK)
  {
    Error_Handler();
  }
  sMasterConfig.MasterOutputTrigger = TIM_TRGO_RESET;
  sMasterConfig.MasterSlaveMode = TIM_MASTERSLAVEMODE_DISABLE;
  if (HAL_TIMEx_MasterConfigSynchronization(&htim3, &sMasterConfig) != HAL_OK)
  {
    Error_Handler();
  }

}

static void MX_TIM17_Init(void)
{

  htim17.Instance = TIM17;
  htim17.Init.Prescaler = 479;
  htim17.Init.CounterMode = TIM_COUNTERMODE_UP;
  htim17.Init.Period = 49999;
  htim17.Init.ClockDivision = TIM_CLOCKDIVISION_DIV1;
  htim17.Init.RepetitionCounter = 0;
  htim17.Init.AutoReloadPreload = TIM_AUTORELOAD_PRELOAD_DISABLE;
  if (HAL_TIM_Base_Init(&htim17) != HAL_OK)
  {
    Error_Handler();
  }

}

static void MX_USART1_UART_Init(void)
{

  huart1.Instance = USART1;
  huart1.Init.BaudRate = 115200;
  huart1.Init.WordLength = UART_WORDLENGTH_8B;
  huart1.Init.StopBits = UART_STOPBITS_1;
  huart1.Init.Parity = UART_PARITY_NONE;
  huart1.Init.Mode = UART_MODE_TX_RX;
  huart1.Init.HwFlowCtl = UART_HWCONTROL_NONE;
  huart1.Init.OverSampling = UART_OVERSAMPLING_16;
  huart1.Init.OneBitSampling = UART_ONE_BIT_SAMPLE_DISABLE;
  huart1.Init.ClockPrescaler = UART_PRESCALER_DIV1;
  huart1.AdvancedInit.AdvFeatureInit = UART_ADVFEATURE_NO_INIT;
  if (HAL_UART_Init(&huart1) != HAL_OK)
  {
    Error_Handler();
  }
  if (HAL_UARTEx_SetTxFifoThreshold(&huart1, UART_TXFIFO_THRESHOLD_1_8) != HAL_OK)
  {
    Error_Handler();
  }
  if (HAL_UARTEx_SetRxFifoThreshold(&huart1, UART_RXFIFO_THRESHOLD_1_8) != HAL_OK)
  {
    Error_Handler();
  }
  if (HAL_UARTEx_DisableFifoMode(&huart1) != HAL_OK)
  {
    Error_Handler();
  }

}

static void MX_USART3_UART_Init(void)
{

  huart3.Instance = USART3;
  huart3.Init.BaudRate = 250000;
  huart3.Init.WordLength = UART_WORDLENGTH_8B;
  huart3.Init.StopBits = UART_STOPBITS_1;
  huart3.Init.Parity = UART_PARITY_NONE;
  huart3.Init.Mode = UART_MODE_TX_RX;
  huart3.Init.HwFlowCtl = UART_HWCONTROL_NONE;
  huart3.Init.OverSampling = UART_OVERSAMPLING_16;
  huart3.Init.OneBitSampling = UART_ONE_BIT_SAMPLE_DISABLE;
  huart3.Init.ClockPrescaler = UART_PRESCALER_DIV1;
  huart3.AdvancedInit.AdvFeatureInit = UART_ADVFEATURE_NO_INIT;
  if (HAL_UART_Init(&huart3) != HAL_OK)
  {
    Error_Handler();
  }
  if (HAL_UARTEx_SetTxFifoThreshold(&huart3, UART_TXFIFO_THRESHOLD_1_8) != HAL_OK)
  {
    Error_Handler();
  }
  if (HAL_UARTEx_SetRxFifoThreshold(&huart3, UART_RXFIFO_THRESHOLD_1_8) != HAL_OK)
  {
    Error_Handler();
  }
  if (HAL_UARTEx_DisableFifoMode(&huart3) != HAL_OK)
  {
    Error_Handler();
  }

}

static void MX_USART6_UART_Init(void)
{

  huart6.Instance = USART6;
  huart6.Init.BaudRate = 115200;
  huart6.Init.WordLength = UART_WORDLENGTH_8B;
  huart6.Init.StopBits = UART_STOPBITS_1;
  huart6.Init.Parity = UART_PARITY_NONE;
  huart6.Init.Mode = UART_MODE_TX_RX;
  huart6.Init.HwFlowCtl = UART_HWCONTROL_NONE;
  huart6.Init.OverSampling = UART_OVERSAMPLING_16;
  huart6.Init.OneBitSampling = UART_ONE_BIT_SAMPLE_DISABLE;
  huart6.Init.ClockPrescaler = UART_PRESCALER_DIV1;
  huart6.AdvancedInit.AdvFeatureInit = UART_ADVFEATURE_NO_INIT;
  if (HAL_UART_Init(&huart6) != HAL_OK)
  {
    Error_Handler();
  }
  if (HAL_UARTEx_SetTxFifoThreshold(&huart6, UART_TXFIFO_THRESHOLD_1_8) != HAL_OK)
  {
    Error_Handler();
  }
  if (HAL_UARTEx_SetRxFifoThreshold(&huart6, UART_RXFIFO_THRESHOLD_1_8) != HAL_OK)
  {
    Error_Handler();
  }
  if (HAL_UARTEx_DisableFifoMode(&huart6) != HAL_OK)
  {
    Error_Handler();
  }

}

static void MX_BDMA_Init(void)
{

  /* DMA controller clock enable */
  __HAL_RCC_BDMA_CLK_ENABLE();

  /* Configure DMA request hdma_memtomem_bdma_channel0 on BDMA_Channel0 */
  hdma_memtomem_bdma_channel0.Instance = BDMA_Channel0;
  hdma_memtomem_bdma_channel0.Init.Request = BDMA_REQUEST_MEM2MEM;
  hdma_memtomem_bdma_channel0.Init.Direction = DMA_MEMORY_TO_MEMORY;
  hdma_memtomem_bdma_channel0.Init.PeriphInc = DMA_PINC_ENABLE;
  hdma_memtomem_bdma_channel0.Init.MemInc = DMA_MINC_ENABLE;
  hdma_memtomem_bdma_channel0.Init.PeriphDataAlignment = DMA_PDATAALIGN_BYTE;
  hdma_memtomem_bdma_channel0.Init.MemDataAlignment = DMA_MDATAALIGN_BYTE;
  hdma_memtomem_bdma_channel0.Init.Mode = DMA_NORMAL;
  hdma_memtomem_bdma_channel0.Init.Priority = DMA_PRIORITY_LOW;
  if (HAL_DMA_Init(&hdma_memtomem_bdma_channel0) != HAL_OK)
  {
    Error_Handler( );
  }

}

static void MX_DMA_Init(void)
{

  /* DMA controller clock enable */
  __HAL_RCC_DMA1_CLK_ENABLE();

  /* DMA interrupt init */
  /* DMA1_Stream0_IRQn interrupt configuration */
  HAL_NVIC_SetPriority(DMA1_Stream0_IRQn, 0, 0);
  HAL_NVIC_EnableIRQ(DMA1_Stream0_IRQn);
  /* DMA1_Stream1_IRQn interrupt configuration */
  HAL_NVIC_SetPriority(DMA1_Stream1_IRQn, 0, 0);
  HAL_NVIC_EnableIRQ(DMA1_Stream1_IRQn);
  /* DMA1_Stream2_IRQn interrupt configuration */
  HAL_NVIC_SetPriority(DMA1_Stream2_IRQn, 0, 0);
  HAL_NVIC_EnableIRQ(DMA1_Stream2_IRQn);
  /* DMA1_Stream3_IRQn interrupt configuration */
  HAL_NVIC_SetPriority(DMA1_Stream3_IRQn, 0, 0);
  HAL_NVIC_EnableIRQ(DMA1_Stream3_IRQn);
  /* DMA1_Stream4_IRQn interrupt configuration */
  HAL_NVIC_SetPriority(DMA1_Stream4_IRQn, 0, 0);
  HAL_NVIC_EnableIRQ(DMA1_Stream4_IRQn);
  /* DMA1_Stream5_IRQn interrupt configuration */
  HAL_NVIC_SetPriority(DMA1_Stream5_IRQn, 0, 0);
  HAL_NVIC_EnableIRQ(DMA1_Stream5_IRQn);
  /* DMA1_Stream6_IRQn interrupt configuration */
  HAL_NVIC_SetPriority(DMA1_Stream6_IRQn, 0, 0);
  HAL_NVIC_EnableIRQ(DMA1_Stream6_IRQn);
  /* DMA1_Stream7_IRQn interrupt configuration */
  HAL_NVIC_SetPriority(DMA1_Stream7_IRQn, 0, 0);
  HAL_NVIC_EnableIRQ(DMA1_Stream7_IRQn);

}

static void MX_GPIO_Init(void)
{
  GPIO_InitTypeDef GPIO_InitStruct = {0};

  /* GPIO Ports Clock Enable */
  __HAL_RCC_GPIOC_CLK_ENABLE();
  __HAL_RCC_GPIOH_CLK_ENABLE();
  __HAL_RCC_GPIOA_CLK_ENABLE();
  __HAL_RCC_GPIOB_CLK_ENABLE();
  __HAL_RCC_GPIOD_CLK_ENABLE();

  /*Configure GPIO pin Output Level */
  HAL_GPIO_WritePin(SPI1_CS_GPIO_Port, SPI1_CS_Pin, GPIO_PIN_RESET);

  /*Configure GPIO pins : PB12 PB13 */
  GPIO_InitStruct.Pin = GPIO_PIN_12|GPIO_PIN_13;
  GPIO_InitStruct.Mode = GPIO_MODE_IT_RISING_FALLING;
  GPIO_InitStruct.Pull = GPIO_PULLUP;
  HAL_GPIO_Init(GPIOB, &GPIO_InitStruct);

  /*Configure GPIO pin : SPI1_CS_Pin */
  GPIO_InitStruct.Pin = SPI1_CS_Pin;
  GPIO_InitStruct.Mode = GPIO_MODE_OUTPUT_PP;
  GPIO_InitStruct.Pull = GPIO_NOPULL;
  GPIO_InitStruct.Speed = GPIO_SPEED_FREQ_LOW;
  HAL_GPIO_Init(SPI1_CS_GPIO_Port, &GPIO_InitStruct);

  /* EXTI interrupt init*/
  HAL_NVIC_SetPriority(EXTI15_10_IRQn, 0, 0);
  HAL_NVIC_EnableIRQ(EXTI15_10_IRQn);

}

/* USER CODE BEGIN 4 */
void LoadAngle() {
  uint8_t ReadSPIF[1202];
  SPIF_ReadAddress(&spif, 0x00, ReadSPIF, 1202);
  for(int i=0;i<100;i++){
    for(int j=0;j<6;j++){
      RobotArm.PosList[i][j] = (float)((ReadSPIF[i*12+j*2+1]<<8)|ReadSPIF[i*12+j*2]) / 10.0f;
    }
  }
  numPosSaved = ReadSPIF[1200] << 8 | ReadSPIF[1201];
}
void SaveAngle()
{
  uint8_t WriteSPIF[1202];
  for(int i=0;i<100;i++){
    for(int j=0;j<6;j++){
      WriteSPIF[i*12+j*2] = (uint16_t)(RobotArm.PosList[i][j]*10) & 0xFF;
      WriteSPIF[i*12+j*2+1] = (uint16_t)(RobotArm.PosList[i][j]*10) >> 8;
    }
  }
  WriteSPIF[1200] = numPosSaved >> 8;
  WriteSPIF[1201] = numPosSaved & 0xFF;
  SPIF_WriteAddress(&spif, 0x00, WriteSPIF, 1202);
}
void ClearAngle()
{
  uint8_t WriteSPIF[1202];
  for(int i=0;i<100;i++){
    for(int j=0;j<6;j++){
      WriteSPIF[i*12+j*2] = 0;
      WriteSPIF[i*12+j*2+1] = 0;
    }
  }
  WriteSPIF[1200] = 0;
  WriteSPIF[1201] = 0;
  SPIF_WriteAddress(&spif, 0x00, WriteSPIF, 1202);
}
void ClearPath()
{
  for(int i=0;i<100;i++){
    for(int j=0;j<6;j++){
      RobotArm.PosList[i][j] = 0;
    }
  }
  numPosSaved = 0;
  SPIF_EraseSector(&spif, 0x00);
}
void RunMotor()
{

  __HAL_TIM_SET_COMPARE(&htim2, TIM_CHANNEL_2, 0);
  __HAL_TIM_SET_COMPARE(&htim2, TIM_CHANNEL_4, 12000);
}
void StopMotor()
{
  __HAL_TIM_SET_COMPARE(&htim2, TIM_CHANNEL_2, 12000);
  __HAL_TIM_SET_COMPARE(&htim2, TIM_CHANNEL_4, 12000);
}
/* USER CODE END 4 */

 /* MPU Configuration */

void MPU_Config(void)
{
  MPU_Region_InitTypeDef MPU_InitStruct = {0};

  /* Disables the MPU */
  HAL_MPU_Disable();

  /** Initializes and configures the Region and the memory to be protected
  */
  MPU_InitStruct.Enable = MPU_REGION_ENABLE;
  MPU_InitStruct.Number = MPU_REGION_NUMBER0;
  MPU_InitStruct.BaseAddress = 0x0;
  MPU_InitStruct.Size = MPU_REGION_SIZE_4GB;
  MPU_InitStruct.SubRegionDisable = 0x87;
  MPU_InitStruct.TypeExtField = MPU_TEX_LEVEL0;
  MPU_InitStruct.AccessPermission = MPU_REGION_NO_ACCESS;
  MPU_InitStruct.DisableExec = MPU_INSTRUCTION_ACCESS_DISABLE;
  MPU_InitStruct.IsShareable = MPU_ACCESS_SHAREABLE;
  MPU_InitStruct.IsCacheable = MPU_ACCESS_NOT_CACHEABLE;
  MPU_InitStruct.IsBufferable = MPU_ACCESS_NOT_BUFFERABLE;

  HAL_MPU_ConfigRegion(&MPU_InitStruct);
  /* Enables the MPU */
  HAL_MPU_Enable(MPU_PRIVILEGED_DEFAULT);

}

void Error_Handler(void)
{
  __disable_irq();
  while (1)
  {
  }
}
